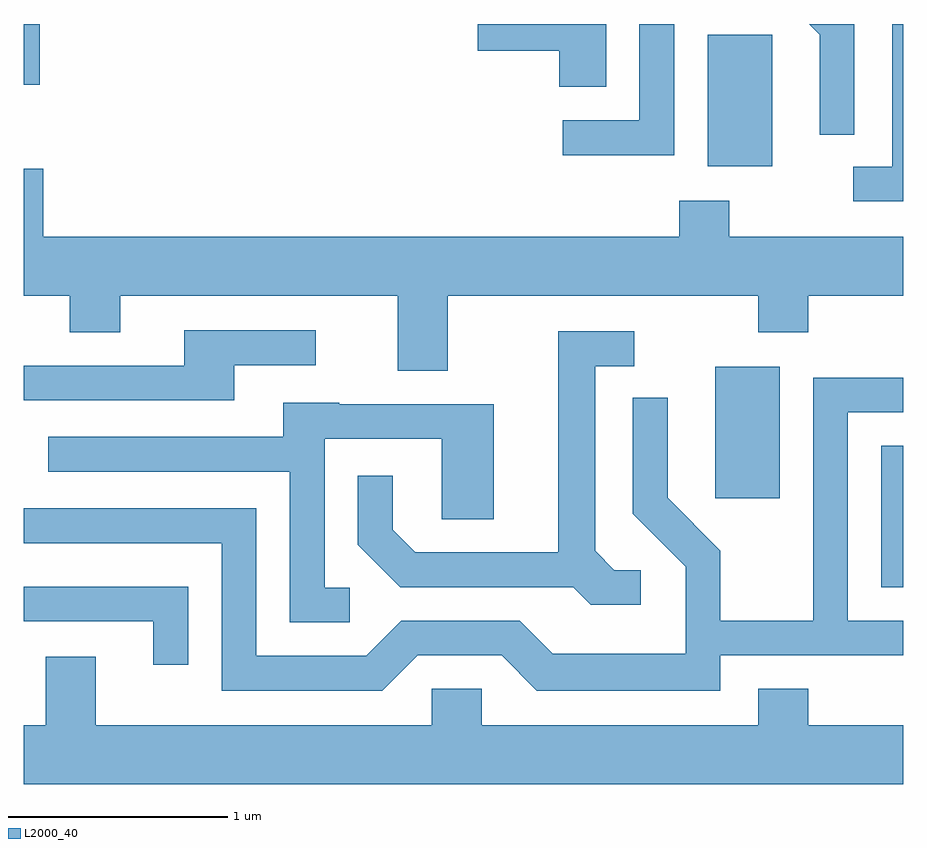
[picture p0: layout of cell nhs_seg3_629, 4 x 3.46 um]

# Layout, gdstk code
import gdstk
lib = gdstk.Library(unit=1e-6, precision=1e-09)
def R(c, l, rs):  # rectangles x0, y0, x1, y1
    for r in rs: c.add(gdstk.rectangle(r[:2], r[2:], *l))
def P(c, l, *ps):  # polygons
    for p in ps: c.add(gdstk.Polygon(p, *l))
L2000_40 = (2000, 40)

nhs_seg3_629 = lib.new_cell('nhs_seg3_629')
R(nhs_seg3_629, L2000_40, [(207.511,1151.331,207.611,1151.974), (206.756,1151.736,207.049,1152.334), (206.721,1153.246,207.014,1153.844), (203.611,1153.616,203.684,1153.892)])
P(nhs_seg3_629, L2000_40, [(207.389,1153.892),(207.183,1153.892),(207.231,1153.844),(207.231,1153.388),(207.389,1153.388)],
  [(207.611,1153.892),(207.561,1153.892),(207.561,1153.244),(207.383,1153.244),(207.383,1153.086),(207.611,1153.086)],
  [(206.569,1153.892),(206.411,1153.892),(206.411,1153.454),(206.063,1153.454),(206.063,1153.296),(206.569,1153.296)],
  [(206.259,1153.892),(205.676,1153.892),(205.676,1153.771),(206.046,1153.771),(206.046,1153.606),(206.259,1153.606)],
  [(205.539,1152.656),(206.951,1152.656),(206.951,1152.491),(207.179,1152.491),(207.179,1152.656),(207.611,1152.656),(207.611,1152.924),(206.819,1152.924),(206.819,1153.089),(206.591,1153.089),(206.591,1152.924),(203.699,1152.924),(203.699,1153.234),(203.611,1153.234),(203.611,1152.656),(203.821,1152.656),(203.821,1152.491),(204.049,1152.491),(204.049,1152.656),(205.311,1152.656),(205.311,1152.316),(205.539,1152.316)],
  [(204.569,1152.341),(204.938,1152.341),(204.938,1152.499),(204.341,1152.499),(204.341,1152.339),(203.611,1152.339),(203.611,1152.181),(204.569,1152.181)],
  [(206.418,1151.409),(206.297,1151.409),(206.209,1151.497),(206.209,1152.336),(206.388,1152.336),(206.388,1152.494),(206.041,1152.494),(206.041,1151.489),(205.392,1151.489),(205.289,1151.592),(205.289,1151.838),(205.131,1151.838),(205.131,1151.524),(205.324,1151.331),(206.109,1151.331),(206.189,1151.251),(206.418,1151.251)],
  [(205.402,1151.021),(205.784,1151.021),(205.944,1150.861),(206.779,1150.861),(206.779,1151.021),(207.611,1151.021),(207.611,1151.179),(207.359,1151.179),(207.359,1152.126),(207.611,1152.126),(207.611,1152.284),(207.201,1152.284),(207.201,1151.179),(206.779,1151.179),(206.779,1151.497),(206.539,1151.737),(206.539,1152.193),(206.381,1152.193),(206.381,1151.664),(206.621,1151.424),(206.621,1151.029),(206.017,1151.029),(205.867,1151.179),(205.329,1151.179),(205.169,1151.019),(204.669,1151.019),(204.669,1151.689),(203.611,1151.689),(203.611,1151.531),(204.511,1151.531),(204.511,1150.861),(205.242,1150.861)],
  [(205.093,1151.329),(204.979,1151.329),(204.979,1152.006),(205.511,1152.006),(205.511,1151.641),(205.749,1151.641),(205.749,1152.164),(205.045,1152.164),(205.045,1152.169),(204.791,1152.169),(204.791,1152.014),(203.723,1152.014),(203.723,1151.856),(204.821,1151.856),(204.821,1151.171),(205.093,1151.171)],
  [(204.359,1151.334),(203.611,1151.334),(203.611,1151.176),(204.201,1151.176),(204.201,1150.978),(204.359,1150.978)],
  [(207.611,1150.704),(207.179,1150.704),(207.179,1150.869),(206.951,1150.869),(206.951,1150.704),(205.694,1150.704),(205.694,1150.869),(205.466,1150.869),(205.466,1150.704),(203.939,1150.704),(203.939,1151.014),(203.711,1151.014),(203.711,1150.704),(203.611,1150.704),(203.611,1150.436),(207.611,1150.436)])

lib.write_gds('nhs_seg3_629.gds')
